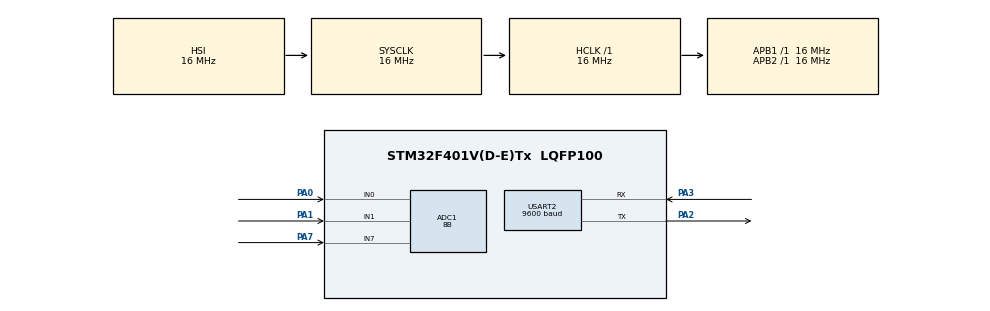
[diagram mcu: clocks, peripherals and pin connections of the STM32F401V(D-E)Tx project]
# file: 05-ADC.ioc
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ADC1.Channel-0\#ChannelRegularConversion=ADC_CHANNEL_0
ADC1.ClockPrescaler=ADC_CLOCK_SYNC_PCLK_DIV8
ADC1.NbrOfConversionFlag=1
ADC1.Rank-0\#ChannelRegularConversion=1
ADC1.Resolution=ADC_RESOLUTION_8B
ADC1.SamplingTime-0\#ChannelRegularConversion=ADC_SAMPLETIME_28CYCLES
ADC1.master=1
Mcu.Family=STM32F4
Mcu.Name=STM32F401V(D-E)Tx
Mcu.Package=LQFP100
NVIC.ADC_IRQn=true\:0\:0\:false\:false\:true\:true\:true\:true
NVIC.PriorityGroup=NVIC_PRIORITYGROUP_4
NVIC.USART2_IRQn=true\:0\:0\:false\:false\:true\:true\:true\:true
PA0-WKUP.Signal=ADCx_IN0
PA1.Signal=ADCx_IN1
PA13.Mode=Serial_Wire
PA13.Signal=SYS_JTMS-SWDIO
PA14.Mode=Serial_Wire
PA14.Signal=SYS_JTCK-SWCLK
PA2.Mode=Asynchronous
PA2.Signal=USART2_TX
PA3.Mode=Asynchronous
PA3.Signal=USART2_RX
PA7.Signal=ADCx_IN7
ProjectManager.HeapSize=0x200
ProjectManager.StackSize=0x400
ProjectManager.TargetToolchain=STM32CubeIDE
RCC.AHBFreq_Value=16000000
RCC.APB1Freq_Value=16000000
RCC.APB2Freq_Value=16000000
RCC.CortexFreq_Value=16000000
RCC.HSE_VALUE=25000000
RCC.HSI_VALUE=16000000
RCC.LSE_VALUE=32768
RCC.SYSCLKFreq_VALUE=16000000
RCC.VCOOutputFreq_Value=192000000
SH.ADCx_IN0.0=ADC1_IN0,IN0
SH.ADCx_IN1.0=ADC1_IN1,IN1
SH.ADCx_IN7.0=ADC1_IN7,IN7
USART2.BaudRate=9600
USART2.VirtualMode=VM_ASYNC
board=custom

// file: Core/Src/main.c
/* USER CODE BEGIN Header */
/**
  ******************************************************************************
  * @file           : main.c
  * @brief          : Main program body
  ******************************************************************************
  * @attention
  *
  * Copyright (c) 2022 STMicroelectronics.
  * All rights reserved.
  *
  * This software is licensed under terms that can be found in the LICENSE file
  * in the root directory of this software component.
  * If no LICENSE file comes with this software, it is provided AS-IS.
  *
  ******************************************************************************
  */
/* USER CODE END Header */
#include "main.h"

/* USER CODE BEGIN Includes */
#include <stdio.h>
#include <string.h>
/* USER CODE END Includes */

/* USER CODE BEGIN PTD */
typedef enum _ADC_Index_e
{
  ADC_IDX_0 = 0,
  ADC_IDX_1,
  ADC_IDX_2,
  ADC_IDX_MAX,
} ADC_Index_e;
/* USER CODE END PTD */

/* USER CODE BEGIN PM */
#define DEBUG_BUFFER_SIZE             (50u)
/* USER CODE END PM */

ADC_HandleTypeDef hadc1;

UART_HandleTypeDef huart2;

/* USER CODE BEGIN PV */
uint16_t dbg_size = 0u;
char dbg_buffer[DEBUG_BUFFER_SIZE] = { 0 };
static uint8_t adc_data[ADC_IDX_MAX] = { 0x00 };
static uint8_t adc_data_idx = ADC_IDX_0;
static uint8_t adc_busy = 0x00;
/* USER CODE END PV */

void SystemClock_Config(void);
static void MX_GPIO_Init(void);
static void MX_ADC1_Init(void);
static void MX_USART2_UART_Init(void);

int main(void)
{

  /* MCU Configuration--------------------------------------------------------*/

  /* Reset of all peripherals, Initializes the Flash interface and the Systick. */
  HAL_Init();

  /* Configure the system clock */
  SystemClock_Config();

  /* Initialize all configured peripherals */
  MX_GPIO_Init();
  MX_ADC1_Init();
  MX_USART2_UART_Init();
  /* USER CODE BEGIN 2 */
  HAL_ADC_Start_IT(&hadc1);
  /* USER CODE END 2 */

  /* Infinite loop */
  /* USER CODE BEGIN WHILE */
  while (1)
  {
    // This is Interrupt start code ... start
    if( adc_busy )
    {
      memset( dbg_buffer, 0x00, DEBUG_BUFFER_SIZE );
      dbg_size = snprintf(dbg_buffer, DEBUG_BUFFER_SIZE, "Red = %d, Green = %d, Blue = %d \r\n", adc_data[0], adc_data[1], adc_data[2] );
      HAL_UART_Transmit(&huart2, (uint8_t*)dbg_buffer, dbg_size, 1000u);
      adc_busy = 0x00;
      HAL_Delay(500);
      HAL_ADC_Start_IT(&hadc1);
    }
    // Above is the Interrupt start code .... end

    /* Below is the ADC Example with polling method
    uint8_t red_adc = 0;
    uint8_t green_adc = 0;
    uint8_t blue_adc = 0;
    ADC_ChannelConfTypeDef adc_config = { 0 };
    memset( dbg_buffer, 0x00, DEBUG_BUFFER_SIZE );

    // Configure ADC for Red Slider
    adc_config.Channel = ADC_CHANNEL_0;
    adc_config.Rank = 1;
    adc_config.SamplingTime = ADC_SAMPLETIME_28CYCLES;
    if( HAL_ADC_ConfigChannel( &hadc1, &adc_config ) == HAL_OK )
    {
      HAL_ADC_Start(&hadc1);
      if( HAL_ADC_PollForConversion( &hadc1, 5u) == HAL_OK )
      {
        red_adc = (uint8_t)HAL_ADC_GetValue(&hadc1);
      }
    }

    // Configure ADC for Green Slider
    adc_config.Channel = ADC_CHANNEL_1;
    if( HAL_ADC_ConfigChannel( &hadc1, &adc_config ) == HAL_OK )
    {
      HAL_ADC_Start(&hadc1);
      if( HAL_ADC_PollForConversion( &hadc1, 5u) == HAL_OK )
      {
        green_adc = (uint8_t)HAL_ADC_GetValue(&hadc1);
      }
    }

    // Configure ADC for Blue Slider
    adc_config.Channel = ADC_CHANNEL_7;
    if( HAL_ADC_ConfigChannel( &hadc1, &adc_config ) == HAL_OK )
    {
      HAL_ADC_Start(&hadc1);
      if( HAL_ADC_PollForConversion( &hadc1, 5u) == HAL_OK )
      {
        blue_adc = (uint8_t)HAL_ADC_GetValue(&hadc1);
      }
    }

    dbg_size = snprintf(dbg_buffer, DEBUG_BUFFER_SIZE, "Red = %d, Green = %d, Blue = %d \r\n", red_adc, green_adc, blue_adc );
    HAL_UART_Transmit(&huart2, (uint8_t*)dbg_buffer, dbg_size, 1000u);

    HAL_Delay(1000);
    */

    /* USER CODE END WHILE */

  }
}

void SystemClock_Config(void)
{
  RCC_OscInitTypeDef RCC_OscInitStruct = {0};
  RCC_ClkInitTypeDef RCC_ClkInitStruct = {0};

  /** Configure the main internal regulator output voltage
  */
  __HAL_RCC_PWR_CLK_ENABLE();
  __HAL_PWR_VOLTAGESCALING_CONFIG(PWR_REGULATOR_VOLTAGE_SCALE2);

  /** Initializes the RCC Oscillators according to the specified parameters
  * in the RCC_OscInitTypeDef structure.
  */
  RCC_OscInitStruct.OscillatorType = RCC_OSCILLATORTYPE_HSI;
  RCC_OscInitStruct.HSIState = RCC_HSI_ON;
  RCC_OscInitStruct.HSICalibrationValue = RCC_HSICALIBRATION_DEFAULT;
  RCC_OscInitStruct.PLL.PLLState = RCC_PLL_NONE;
  if (HAL_RCC_OscConfig(&RCC_OscInitStruct) != HAL_OK)
  {
    Error_Handler();
  }

  /** Initializes the CPU, AHB and APB buses clocks
  */
  RCC_ClkInitStruct.ClockType = RCC_CLOCKTYPE_HCLK|RCC_CLOCKTYPE_SYSCLK
                              |RCC_CLOCKTYPE_PCLK1|RCC_CLOCKTYPE_PCLK2;
  RCC_ClkInitStruct.SYSCLKSource = RCC_SYSCLKSOURCE_HSI;
  RCC_ClkInitStruct.AHBCLKDivider = RCC_SYSCLK_DIV1;
  RCC_ClkInitStruct.APB1CLKDivider = RCC_HCLK_DIV1;
  RCC_ClkInitStruct.APB2CLKDivider = RCC_HCLK_DIV1;

  if (HAL_RCC_ClockConfig(&RCC_ClkInitStruct, FLASH_LATENCY_0) != HAL_OK)
  {
    Error_Handler();
  }
}

static void MX_ADC1_Init(void)
{

  ADC_ChannelConfTypeDef sConfig = {0};

  /** Configure the global features of the ADC (Clock, Resolution, Data Alignment and number of conversion)
  */
  hadc1.Instance = ADC1;
  hadc1.Init.ClockPrescaler = ADC_CLOCK_SYNC_PCLK_DIV8;
  hadc1.Init.Resolution = ADC_RESOLUTION_8B;
  hadc1.Init.ScanConvMode = DISABLE;
  hadc1.Init.ContinuousConvMode = DISABLE;
  hadc1.Init.DiscontinuousConvMode = DISABLE;
  hadc1.Init.ExternalTrigConvEdge = ADC_EXTERNALTRIGCONVEDGE_NONE;
  hadc1.Init.ExternalTrigConv = ADC_SOFTWARE_START;
  hadc1.Init.DataAlign = ADC_DATAALIGN_RIGHT;
  hadc1.Init.NbrOfConversion = 1;
  hadc1.Init.DMAContinuousRequests = DISABLE;
  hadc1.Init.EOCSelection = ADC_EOC_SINGLE_CONV;
  if (HAL_ADC_Init(&hadc1) != HAL_OK)
  {
    Error_Handler();
  }

  /** Configure for the selected ADC regular channel its corresponding rank in the sequencer and its sample time.
  */
  sConfig.Channel = ADC_CHANNEL_0;
  sConfig.Rank = 1;
  sConfig.SamplingTime = ADC_SAMPLETIME_28CYCLES;
  if (HAL_ADC_ConfigChannel(&hadc1, &sConfig) != HAL_OK)
  {
    Error_Handler();
  }

}

static void MX_USART2_UART_Init(void)
{

  huart2.Instance = USART2;
  huart2.Init.BaudRate = 9600;
  huart2.Init.WordLength = UART_WORDLENGTH_8B;
  huart2.Init.StopBits = UART_STOPBITS_1;
  huart2.Init.Parity = UART_PARITY_NONE;
  huart2.Init.Mode = UART_MODE_TX_RX;
  huart2.Init.HwFlowCtl = UART_HWCONTROL_NONE;
  huart2.Init.OverSampling = UART_OVERSAMPLING_16;
  if (HAL_UART_Init(&huart2) != HAL_OK)
  {
    Error_Handler();
  }

}

static void MX_GPIO_Init(void)
{

  /* GPIO Ports Clock Enable */
  __HAL_RCC_GPIOA_CLK_ENABLE();

}

/* USER CODE BEGIN 4 */
/**
  * @brief  Regular conversion complete callback in non blocking mode
  * @param  hadc pointer to a ADC_HandleTypeDef structure that contains
  *         the configuration information for the specified ADC.
  * @retval None
  */
void HAL_ADC_ConvCpltCallback(ADC_HandleTypeDef* hadc)
{
  ADC_ChannelConfTypeDef adc_config = { 0 };
  // if( hadc == &hadc1)

  // Save the ADC data in the array
  if( adc_data_idx < ADC_IDX_MAX )
  {
    adc_data[adc_data_idx] = HAL_ADC_GetValue(hadc);
  }

  // Reconfigure the channel
  switch( adc_data_idx )
  {
    case ADC_IDX_0:
      // if 0 is configured then configure 1 next
      adc_config.Channel = ADC_CHANNEL_1;
      adc_data_idx = ADC_IDX_1;
      break;
    case ADC_IDX_1:
      adc_config.Channel = ADC_CHANNEL_7;
      adc_data_idx = ADC_IDX_2;
      break;
    case ADC_IDX_2:
      adc_config.Channel = ADC_CHANNEL_0;
      adc_data_idx = ADC_IDX_0;
      break;
    default:
      break;
  };

  adc_config.Rank = 1;
  adc_config.SamplingTime = ADC_SAMPLETIME_28CYCLES;

  HAL_ADC_ConfigChannel(&hadc1, &adc_config);
  // this means that one cycle is completed
  if( adc_data_idx == ADC_IDX_0 )
  {
    // one cycle is complete and next triggering will be done from the main loop
    adc_busy = 0x01;
  }
  // if one cycle is not completed, then continue triggering the ADC conversion
  else
  {
    // triggering will be done in while loop
    HAL_ADC_Start_IT( hadc );
  }
}
/* USER CODE END 4 */

void Error_Handler(void)
{
  __disable_irq();
  while (1)
  {
  }
}
